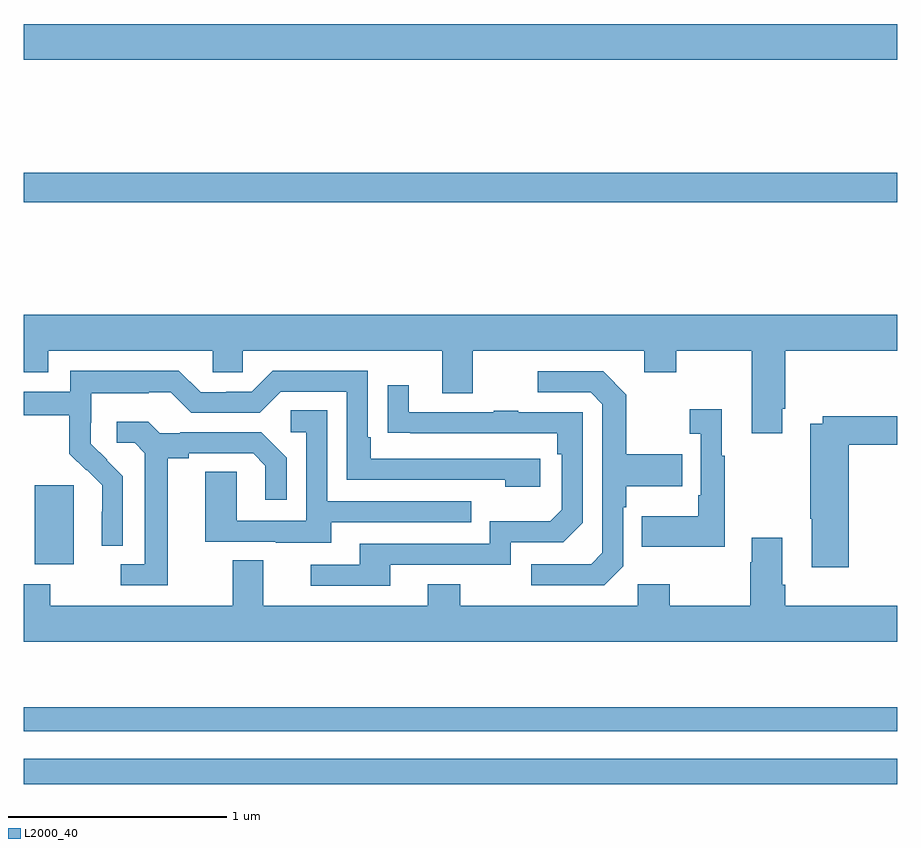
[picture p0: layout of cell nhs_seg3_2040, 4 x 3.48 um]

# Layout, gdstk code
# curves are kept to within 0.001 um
import gdstk
lib = gdstk.Library(unit=1e-6, precision=1e-09)
def R(c, l, rs):  # rectangles x0, y0, x1, y1
    for r in rs: c.add(gdstk.rectangle(r[:2], r[2:], *l))
def P(c, l, *ps):  # polygons
    for p in ps: c.add(gdstk.Polygon(p, *l))
L2000_40 = (2000, 40)

nhs_seg3_2040 = lib.new_cell('nhs_seg3_2040')
R(nhs_seg3_2040, L2000_40, [(215,738.892,219,739.008), (215,739.134,219,739.243), (215.051,739.898,215.23,740.259), (215,741.556,219,741.692), (215,742.208,219,742.372)])
P(nhs_seg3_2040, L2000_40, [(218.473,740.611),(218.486,740.611),(218.486,740.876),(219,740.876),(219,741.04),(215,741.04),(215,740.777),(215.113,740.777),(215.113,740.876),(215.865,740.876),(215.865,740.778),(216.003,740.778),(216.003,740.876),(216.917,740.876),(216.917,740.682),(217.057,740.682),(217.057,740.876),(217.841,740.876),(217.841,740.777),(217.989,740.777),(217.989,740.876),(218.333,740.876),(218.333,740.499),(218.473,740.499)],
  [(215.454,740.302),(215.308,740.45),(215.308,740.547),(215.31,740.547),(215.31,740.681),(215.573,740.681),(215.573,740.685),(215.673,740.685),(215.766,740.592),(216.081,740.592),(216.177,740.688),(216.48,740.688),(216.48,740.286),(217.205,740.286),(217.205,740.252),(217.366,740.252),(217.366,740.382),(216.589,740.382),(216.589,740.479),(216.576,740.479),(216.576,740.784),(216.141,740.784),(216.045,740.688),(215.927,740.688),(215.927,740.685),(215.811,740.685),(215.711,740.785),(215.214,740.785),(215.214,740.688),(215,740.688),(215,740.58),(215.209,740.58),(215.209,740.405),(215.286,740.328),(215.289,740.331),(215.36,740.261),(215.36,740.138),(215.358,740.138),(215.358,739.984),(215.454,739.984)],
  [(217.746,739.89),(217.746,740.159),(217.759,740.159),(217.759,740.255),(218.015,740.255),(218.015,740.403),(217.759,740.403),(217.759,740.675),(217.653,740.781),(217.353,740.781),(217.353,740.685),(217.596,740.685),(217.65,740.631),(217.65,739.95),(217.599,739.899),(217.323,739.899),(217.323,739.803),(217.659,739.803)],
  [(216.679,739.896),(217.23,739.896),(217.23,739.998),(217.47,739.998),(217.56,740.088),(217.56,740.595),(217.265,740.595),(217.265,740.6),(217.153,740.6),(217.153,740.595),(216.763,740.595),(216.763,740.719),(216.667,740.719),(216.667,740.5),(217.444,740.499),(217.444,740.402),(217.464,740.402),(217.464,740.148),(217.411,740.095),(217.134,740.095),(217.134,739.992),(216.539,739.992),(216.539,739.896),(216.315,739.896),(216.315,739.8),(216.679,739.8)],
  [(218.209,740.395),(218.197,740.395),(218.197,740.608),(218.049,740.608),(218.049,740.495),(218.1,740.495),(218.1,740.215),(218.088,740.215),(218.088,740.119),(217.831,740.119),(217.831,739.979),(218.209,739.979)],
  [(216.409,740.091),(217.049,740.091),(217.049,740.187),(216.39,740.187),(216.39,740.603),(216.222,740.603),(216.222,740.502),(216.294,740.502),(216.294,740.097),(215.976,740.097),(215.976,740.321),(215.831,740.321),(215.831,740.001),(216.155,740.001),(216.155,739.997),(216.409,739.997)],
  [(218.777,740.446),(219,740.446),(219,740.575),(218.658,740.575),(218.658,740.542),(218.602,740.542),(218.602,740.107),(218.609,740.107),(218.609,739.884),(218.777,739.884)],
  [(215.659,740.384),(215.755,740.384),(215.755,740.406),(216.05,740.406),(216.107,740.349),(216.107,740.193),(216.204,740.193),(216.204,740.386),(216.088,740.502),(215.716,740.502),(215.716,740.499),(215.622,740.499),(215.57,740.551),(215.427,740.551),(215.427,740.454),(215.508,740.454),(215.555,740.407),(215.555,739.899),(215.445,739.899),(215.445,739.803),(215.659,739.803)],
  [(219,739.708),(218.486,739.708),(218.486,739.804),(218.473,739.804),(218.473,740.02),(218.333,740.02),(218.333,739.907),(218.326,739.907),(218.326,739.708),(217.959,739.708),(217.959,739.807),(217.812,739.807),(217.812,739.708),(216.999,739.708),(216.999,739.807),(216.851,739.807),(216.851,739.708),(216.097,739.708),(216.097,739.916),(215.957,739.916),(215.957,739.708),(215.121,739.708),(215.121,739.807),(215,739.807),(215,739.544),(219,739.544)])

lib.write_gds('nhs_seg3_2040.gds')
